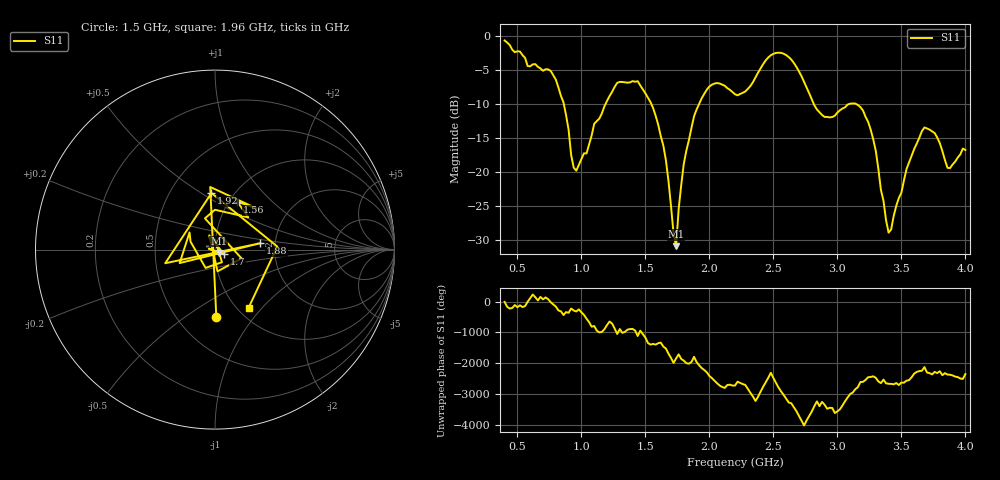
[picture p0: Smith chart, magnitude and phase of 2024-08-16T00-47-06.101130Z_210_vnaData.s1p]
!Created with skrf (http://scikit-rf.org).
# Hz S RI R 50.0
!freq ReS11 ImS11
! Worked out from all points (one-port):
!   181 points, 400 MHz to 4 GHz, reference 50 ohm
!   lowest |S11| = -30.9 dB at 1.74 GHz (marker M1), VSWR 1.06, Z = 52.1 - j1.99 ohm
!   |S11| at or under -10 dB: 862.3 MHz to 1.189 GHz (326.9 MHz wide, 31.9 % of centre); 1.546 GHz to 1.92 GHz (374.7 MHz wide, 21.6 % of centre); 3.143 GHz to end of sweep (the widest 3 of 4)
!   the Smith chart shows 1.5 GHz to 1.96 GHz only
!   S11 on the Smith chart (normalised r, x): 1.5 GHz: 0.76, -0.67; 1.56 GHz: 1.09, +0.64; 1.7 GHz: 1.10, -0.06; 1.88 GHz: 1.67, +0.13; 1.92 GHz: 0.79, +0.55; 1.96 GHz: 1.12, -0.85
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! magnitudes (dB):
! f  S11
! 400 MHz  -0.7
! 760 MHz  -5.2
! 860 MHz  -9.8
! 920 MHz  -17.5
! 960 MHz  -19.8
! 1.3 GHz  -6.8
! 1.5 GHz  -8.5
! 1.56 GHz  -10.6
! 1.64 GHz  -16.1
! 1.7 GHz  -25.0
! 1.74 GHz  -30.9
! 1.76 GHz  -25.4
! 1.8 GHz  -18.8
! 1.88 GHz  -11.8
! 1.92 GHz  -10.0
! 1.96 GHz  -8.5
! 2.2 GHz  -8.6
! 2.5 GHz  -2.7
! 2.66 GHz  -4.0
! 2.9 GHz  -11.9
! 3.1 GHz  -10.0
! 3.26 GHz  -13.8
! 3.4 GHz  -28.9
! 3.56 GHz  -18.6
! 3.68 GHz  -13.5
! 3.76 GHz  -14.3
! 3.86 GHz  -19.4
! 4 GHz  -16.8
